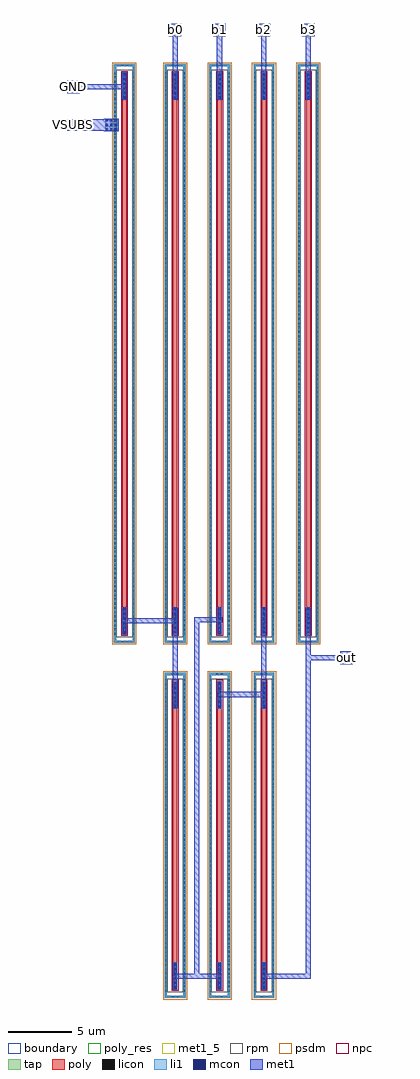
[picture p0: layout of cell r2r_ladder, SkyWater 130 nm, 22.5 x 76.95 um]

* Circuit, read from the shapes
.subckt r2r_ladder GND VSUBS b0 b1 b2 b3 out
XR1 GND n1 VSUBS sky130_fd_pr__res_high_po w=0.35 l=40.04
XR2 n1 n2 VSUBS sky130_fd_pr__res_high_po w=0.35 l=20.04
XR3 b0 n1 VSUBS sky130_fd_pr__res_high_po w=0.35 l=40.04
XR4 n3 n2 VSUBS sky130_fd_pr__res_high_po w=0.35 l=20.04
XR5 b1 n2 VSUBS sky130_fd_pr__res_high_po w=0.35 l=40.04
XR6 n3 out VSUBS sky130_fd_pr__res_high_po w=0.35 l=20.04
XR7 b2 n3 VSUBS sky130_fd_pr__res_high_po w=0.35 l=40.04
XR8 b3 out VSUBS sky130_fd_pr__res_high_po w=0.35 l=40.04
.ends

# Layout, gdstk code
import gdstk
lib = gdstk.Library(unit=1e-6, precision=1e-09)
def R(c, l, rs):  # rectangles x0, y0, x1, y1
    for r in rs: c.add(gdstk.rectangle(r[:2], r[2:], *l))
def A(c, l, x, y, w, h, nx, ny, dx, dy):  # array of equal rectangles
    R(c, l, [(x+i*dx, y+j*dy, x+i*dx+w, y+j*dy+h) for i in range(nx) for j in range(ny)])
tap = (65, 44)
poly_res = (66, 13)
poly = (66, 20)
licon = (66, 44)
li1 = (67, 20)
mcon = (67, 44)
met1_5 = (68, 5)
met1 = (68, 20)
rpm = (86, 20)
psdm = (94, 20)
npc = (95, 20)
boundary = (235, 4)

sky130_fd_pr__res_high_p = lib.new_cell('sky130_fd_pr__res_high_po_0p35_3KK54B')
R(sky130_fd_pr__res_high_p, tap, [(-0.825,-22.81,0.825,-22.64), (-0.825,-22.64,-0.655,22.64), (0.655,-22.64,0.825,22.64), (-0.825,22.64,0.825,22.81)])
R(sky130_fd_pr__res_high_p, poly_res, [(-0.175,-20.08,0.175,20.08)])
R(sky130_fd_pr__res_high_p, poly, [(-0.175,-22.16,0.175,22.16)])
A(sky130_fd_pr__res_high_p, licon, -0.825, -22.185, 0.17, 0.17, 1, 131, 0, 0.34)
A(sky130_fd_pr__res_high_p, licon, 0.655, -22.185, 0.17, 0.17, 1, 131, 0, 0.34)
R(sky130_fd_pr__res_high_p, licon, [(-0.255,-22.81,-0.085,-22.64), (0.085,-22.81,0.255,-22.64), (-0.095,-22.08,0.095,-20.08), (-0.095,20.08,0.095,22.08), (-0.255,22.64,-0.085,22.81), (0.085,22.64,0.255,22.81)])
R(sky130_fd_pr__res_high_p, li1, [(-0.825,-22.81,0.825,-22.64), (-0.825,-22.64,-0.655,22.64), (0.655,-22.64,0.825,22.64), (-0.175,-22.16,0.175,-20), (-0.175,20,0.175,22.16), (-0.825,22.64,0.825,22.81)])
A(sky130_fd_pr__res_high_p, mcon, -0.085, -22.065, 0.17, 0.17, 1, 6, 0, 0.36)
A(sky130_fd_pr__res_high_p, mcon, -0.085, 20.09, 0.17, 0.17, 1, 6, 0, 0.36)
R(sky130_fd_pr__res_high_p, met1, [(-0.125,-22.13,0.125,-20.025), (-0.125,20.025,0.125,22.13)])
R(sky130_fd_pr__res_high_p, rpm, [(-0.64,-22.36,0.64,22.36)])
R(sky130_fd_pr__res_high_p, psdm, [(-0.95,-22.935,0.95,22.935)])
R(sky130_fd_pr__res_high_p, npc, [(-0.27,-22.255,0.27,22.255)])
R(sky130_fd_pr__res_high_p, boundary, [(-0.74,-22.725,0.74,22.725)])

two_r_unit = lib.new_cell('two_r_unit')
two_r_unit.add(gdstk.Reference(sky130_fd_pr__res_high_p, (-1.76,21.595)))

c_sky130_fd_pr__res_high_p = lib.new_cell('sky130_fd_pr__res_high_po_0p35_QPS5FG')
R(c_sky130_fd_pr__res_high_p, tap, [(-0.825,-12.81,0.825,-12.64), (-0.825,-12.64,-0.655,12.64), (0.655,-12.64,0.825,12.64), (-0.825,12.64,0.825,12.81)])
R(c_sky130_fd_pr__res_high_p, poly_res, [(-0.175,-10.08,0.175,10.08)])
R(c_sky130_fd_pr__res_high_p, poly, [(-0.175,-12.16,0.175,12.16)])
A(c_sky130_fd_pr__res_high_p, licon, -0.825, -12.325, 0.17, 0.17, 1, 73, 0, 0.34)
A(c_sky130_fd_pr__res_high_p, licon, 0.655, -12.325, 0.17, 0.17, 1, 73, 0, 0.34)
R(c_sky130_fd_pr__res_high_p, licon, [(-0.255,-12.81,-0.085,-12.64), (0.085,-12.81,0.255,-12.64), (-0.095,-12.08,0.095,-10.08), (-0.095,10.08,0.095,12.08), (-0.255,12.64,-0.085,12.81), (0.085,12.64,0.255,12.81)])
R(c_sky130_fd_pr__res_high_p, li1, [(-0.825,-12.81,0.825,-12.64), (-0.825,-12.64,-0.655,12.64), (0.655,-12.64,0.825,12.64), (-0.175,-12.16,0.175,-10), (-0.175,10,0.175,12.16), (-0.825,12.64,0.825,12.81)])
A(c_sky130_fd_pr__res_high_p, mcon, -0.085, -12.065, 0.17, 0.17, 1, 6, 0, 0.36)
A(c_sky130_fd_pr__res_high_p, mcon, -0.085, 10.09, 0.17, 0.17, 1, 6, 0, 0.36)
R(c_sky130_fd_pr__res_high_p, met1, [(-0.125,-12.13,0.125,-10.025), (-0.125,10.025,0.125,12.13)])
R(c_sky130_fd_pr__res_high_p, rpm, [(-0.64,-12.36,0.64,12.36)])
R(c_sky130_fd_pr__res_high_p, psdm, [(-0.95,-12.935,0.95,12.935)])
R(c_sky130_fd_pr__res_high_p, npc, [(-0.27,-12.255,0.27,12.255)])
R(c_sky130_fd_pr__res_high_p, boundary, [(-0.74,-12.725,0.74,12.725)])

r_unit = lib.new_cell('r_unit')
r_unit.add(gdstk.Reference(c_sky130_fd_pr__res_high_p, (0.74,12.725)))

r2r_ladder = lib.new_cell('r2r_ladder')
R(r2r_ladder, li1, [(-4.5,68.55,-3.55,69.45)])
A(r2r_ladder, mcon, -4.47, 68.555, 0.17, 0.17, 3, 3, 0.36, 0.36)
A(r2r_ladder, met1_5, 0.5, 76, 1, 1, 4, 1, 3.5, 0)
R(r2r_ladder, met1_5, [(14,26.5,15,27.5), (-7.5,68.55,-6.5,69.45), (-7.5,71.5,-6.5,72.5)])
A(r2r_ladder, met1, 0.8, 71, 0.4, 5, 4, 1, 3.5, 0)
A(r2r_ladder, met1, 0.5, 76, 1, 1, 4, 1, 3.5, 0)
R(r2r_ladder, met1, [(0.8,1.7,4.67,2.1), (7.84,1.7,11.7,2.1), (2.5,2.1,2.9,29.8), (11.3,2.1,11.7,26.8), (0.8,23,1.2,29.7), (7.8,23.03,8.2,23.9), (4.33,23.9,8.2,24.3), (7.8,24.3,8.2,30.95), (14,26.5,15,26.8), (11.3,26.8,15,27.2), (11.3,27.2,11.7,30.95), (14,27.2,15,27.5), (-3.2,29.7,1.2,30.1), (2.5,29.8,4.7,30.2), (0.8,30.1,1.2,30.95), (-4.6,68.5,-3.45,68.55), (-7.5,68.55,-3.45,69.45), (-4.6,69.45,-3.45,69.5), (-3.2,71,-2.8,71.8), (-7.5,71.5,-6.5,71.8), (-7.5,71.8,-2.8,72.2), (-7.5,72.2,-6.5,72.5), (-3.2,72.2,-2.8,73.1)])
r2r_ladder.add(gdstk.Reference(two_r_unit, (-1.235,29.395)))
r2r_ladder.add(gdstk.Reference(two_r_unit, (13.265,29.395)))
r2r_ladder.add(gdstk.Reference(two_r_unit, (9.765,29.395)))
r2r_ladder.add(gdstk.Reference(two_r_unit, (6.265,29.395)))
r2r_ladder.add(gdstk.Reference(two_r_unit, (2.765,29.395)))
r2r_ladder.add(gdstk.Reference(r_unit, (7.265,0.265)))
r2r_ladder.add(gdstk.Reference(r_unit, (3.765,0.265)))
r2r_ladder.add(gdstk.Reference(r_unit, (0.265,0.265)))
r2r_ladder.add(gdstk.Label('out', (14.5,27), layer=68, texttype=5))
r2r_ladder.add(gdstk.Label('b0', (1,76.5), layer=68, texttype=5))
r2r_ladder.add(gdstk.Label('b1', (4.5,76.5), layer=68, texttype=5))
r2r_ladder.add(gdstk.Label('b2', (8,76.5), layer=68, texttype=5))
r2r_ladder.add(gdstk.Label('b3', (11.5,76.5), layer=68, texttype=5))
r2r_ladder.add(gdstk.Label('GND', (-7,72), layer=68, texttype=5))
r2r_ladder.add(gdstk.Label('VSUBS', (-7,69), layer=68, texttype=5))

lib.write_gds('r2r_ladder.gds')
